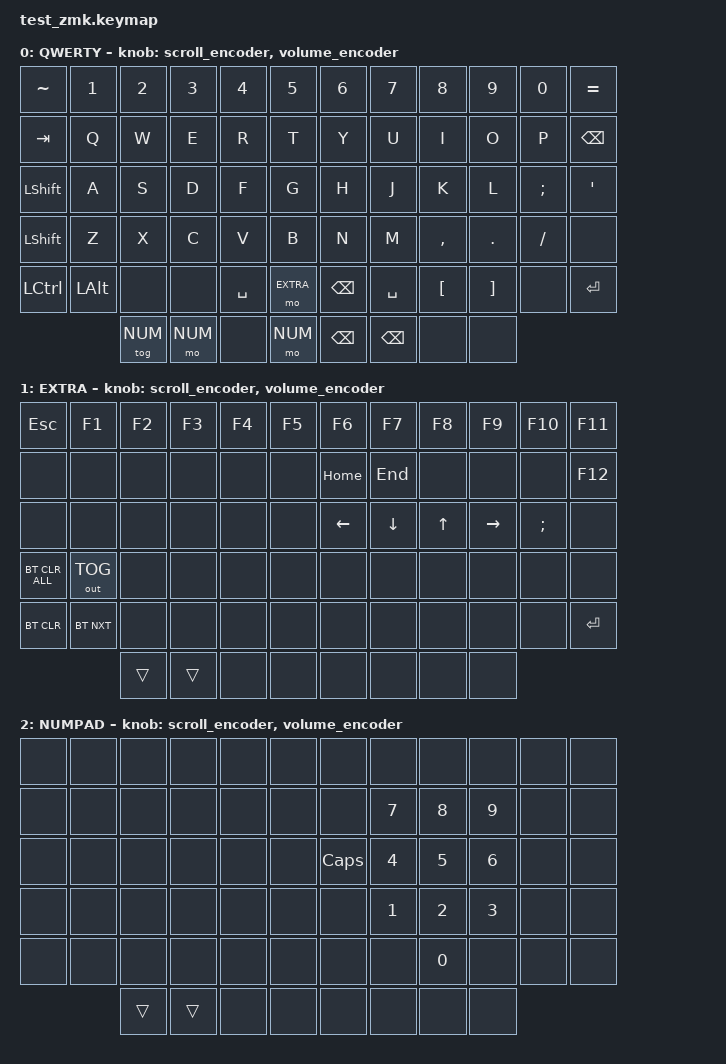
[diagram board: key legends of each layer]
#include <behaviors.dtsi>
#include <dt-bindings/zmk/keys.h>
#include <dt-bindings/zmk/mouse.h>
#include <behaviors/mouse_keys.dtsi>
#include <dt-bindings/zmk/bt.h>
#include <dt-bindings/zmk/outputs.h>
#include <dt-bindings/zmk/ext_power.h>

#define ZMK_MOUSE_DEFAULT_SCRL_VAL 50 // 10

#define QWERTY 0
#define EXTRA 1
#define NUM 2

/*
 * КОДЫ КЛАВИШ: https://zmk.dev/docs/codes 
 * ДОКУМЕНТАЦИЯ ПО НАСТРОЙКЕ ПОВЕДЕНИЯ КЛВИШ: https://zmk.dev/docs/behaviors
 * ДОКУМЕНТАЦИЯ ПО ЭМУЛЯЦИИ МЫШИ: https://zmk.dev/docs/behaviors/mouse-emulation
 * НАСТРОЙКА ПОВЕДЕНИЯ СЛОЕВ: https://zmk.dev/docs/keymaps/behaviors/layers
 */


&msc {
    acceleration-exponent = <0>;      // 0
    time-to-max-speed-ms = <0>;       // 300
    delay-ms = <0>;                   // 0
};
/ {
    behaviors {
        page_encoder: page_encoder {
            compatible = "zmk,behavior-sensor-rotate";
            #sensor-binding-cells = <0>;
            bindings = <&kp PG_UP>, <&kp PG_DN>;
        };
        volume_encoder: volume_encoder {
            compatible = "zmk,behavior-sensor-rotate";
            #sensor-binding-cells = <0>;
            bindings = <&kp C_VOL_DN>, <&kp C_VOL_UP>;
        };
        scroll_encoder: scroll_encoder {
            compatible = "zmk,behavior-sensor-rotate";
            #sensor-binding-cells = <0>;
            bindings = <&msc SCRL_UP>, <&msc SCRL_DOWN>;
            tap-ms = <50>;
        };
    };


    // ДОКУМЕНТАЦИЯ ПО ПОВЕДЕНИЮ КНОПОК: https://zmk.dev/docs/behaviors
    keymap {
        compatible = "zmk,keymap";

        QWERTY {
            display-name = "QWERTY";
/* QWERTY
 *
 * ,-----------------------------------------------.               ,-----------------------------------------------.
 * |  ESC  |   1   |   2   |   3   |   4   |   5   |               |   6   |   7   |   8   |   9   |   0   |   =   |
 * |-------+-------+-------+-------+-------|-------|               |-------+-------+-------+-------+-------|-------|
 * |  TAB  |   Q   |   W   |   E   |   R   |   T   |               |   Y   |   U   |   I   |   O   |   P   |   ?   |
 * |-------+-------+-------+-------+-------|-------|               |-------+-------+-------+-------+-------|-------|
 * | CAPS  |   A   |   S   |   D   |   F   |   G   |               |   H   |   J   |   K   |   L   |   ;   |   ?   |
 * |-------+-------+-------+-------+-------|-------|               |-------+-------+-------+-------+-------|-------|
 * |LSHIFT |   Z   |   X   |   C   |   V   |   B   |               |   N   |   M   |   ,   |   .   |   /   |   ?   |
 * |-------------------------------================ǁ               ǁ================-----------------------|-------|
 * | CTRL  |  ALT  |   ?   |   ?   ǁ   ?   |   ?   ǁ<большой палец>ǁ BSPC  | SPACE ǁ   ?   |   ?   |   ?   |   ?   |
 * `---------------=================---------------ǁ               ǁ---------------=================---------------'
 *                 ǁ   ?   |   ?   |   ?   |  NUM  ǁ<---Encoder--->ǁ   ?   |   ?   |   ?   |   ?   ǁ	
 *                 "==============================="               "==============================="
 *                  ^^^^^^^^^^^^^^^ ^^^^^^^^^^^^^^^                 ^^^^^^^^^^^^^^^ ^^^^^^^^^^^^^^^
 *                    нижний ряд      верхний ряд                      верхний ряд    нижний ряд
 */
            bindings = <
    &kp TILDE    &kp N1       &kp N2       &kp N3       &kp N4       &kp N5             &kp N6       &kp N7       &kp N8       &kp N9       &kp N0       &kp EQUAL
    &kp TAB      &kp Q        &kp W        &kp E        &kp R        &kp T              &kp Y        &kp U        &kp I        &kp O        &kp P        &kp BSPC
    &kp LSHIFT   &kp A        &kp S        &kp D        &kp F        &kp G              &kp H        &kp J        &kp K        &kp L        &kp SEMI     &kp SQT
    &kp LSHIFT   &kp Z        &kp X        &kp C        &kp V        &kp B              &kp N        &kp M        &kp COMMA    &kp DOT      &kp FSLH     &none
    &kp LCTRL    &kp LALT     &none        &none        &kp SPACE    &mo EXTRA          &kp BSPC     &kp SPACE    &kp LBKT     &kp RBKT     &none        &kp ENTER 
                              &tog NUM     &mo NUM      &none        &mo NUM            &kp BSPC     &kp BSPC     &none        &none
            >;
            
            // ТУТ УКАЗЫВАЕТСЯ НАЗНАЧЕНИЕ ЭНКОДЕРА В СЛОЕ
            sensor-bindings = 
            <&scroll_encoder>, 
            <&volume_encoder>;
        };

        EXTRA {
            display-name = "EXTRA";
/* EXTRA 
 *
 * ,-----------------------------------------------.               ,-----------------------------------------------.
 * |  ESC  |   1   |   2   |   3   |   4   |   5   |               |   6   |   7   |   8   |   9   |   0   |   =   |
 * |-------+-------+-------+-------+-------|-------|               |-------+-------+-------+-------+-------|-------|
 * |  TAB  |   Q   |   W   |   E   |   R   |   T   |               |   Y   |   U   |   I   |   O   |   P   |   ?   |
 * |-------+-------+-------+-------+-------|-------|               |-------+-------+-------+-------+-------|-------|
 * | CAPS  |   A   |   S   |   D   |   F   |   G   |               |   H   |   J   |   K   |   L   |   ;   |   ?   |
 * |-------+-------+-------+-------+-------|-------|               |-------+-------+-------+-------+-------|-------|
 * |LSHIFT |   Z   |   X   |   C   |   V   |   B   |               |   N   |   M   |   ,   |   .   |   /   |   ?   |
 * |-------------------------------================ǁ               ǁ================-----------------------|-------|
 * | CTRL  |  ALT  |   ?   |   ?   ǁ   ?   |   ?   ǁ<большой палец>ǁ BSPC  | SPACE ǁ   ?   |   ?   |   ?   |   ?   |
 * `---------------=================---------------ǁ               ǁ---------------=================---------------'
 *                 ǁ   ?   |   ?   |   ?   |  NUM  ǁ<---Encoder--->ǁ   ?   |   ?   |   ?   |   ?   ǁ	
 *                 "==============================="               "==============================="
 *                  ^^^^^^^^^^^^^^^ ^^^^^^^^^^^^^^^                 ^^^^^^^^^^^^^^^ ^^^^^^^^^^^^^^^
 *                    нижний ряд      верхний ряд                      верхний ряд    нижний ряд
 */
            bindings = <
    &kp ESC        &kp F1        &kp F2       &kp F3       &kp F4       &kp F5             &kp F6       &kp F7       &kp F8       &kp F9       &kp F10      &kp F11
    &none          &none         &none        &none        &none        &none              &kp HOME     &kp END      &none        &none        &none        &kp F12
    &none          &none         &none        &none        &none        &none              &kp LEFT     &kp DOWN     &kp UP       &kp RIGHT    &kp SEMI     &none
    &bt BT_CLR_ALL &out OUT_TOG  &none        &none        &none        &none              &none        &none        &none        &none        &none        &none
    &bt BT_CLR     &bt BT_NXT    &none        &none        &none        &none              &none        &none        &none        &none        &none        &kp ENTER 
                                 &trans       &trans       &none        &none              &none        &none        &none        &none
            >;
            
            // ТУТ УКАЗЫВАЕТСЯ НАЗНАЧЕНИЕ ЭНКОДЕРА В СЛОЕ
            sensor-bindings = 
            <&scroll_encoder>, 
            <&volume_encoder>;
        };

        NUM {
            display-name = "NUMPAD";
/* NUMPAD
 *
 * ,----------------------------------------------.               ,-----------------------------------------------.
 * |   ?   |   ?   |   ?   |   ?   |   ?   |   ?  |               |   ?   |   ?   |   ?   |   ?   |   ?   |   ?   |
 * |-------+-------+-------+-------+-------|------|               |-------+-------+-------+-------+-------|-------|
 * |   ?   |   ?   |   ?   |   ?   |   ?   |   ?  |               |   ?   |   7   |   8   |   9   |   ?   |   ?   |
 * |-------+-------+-------+-------+-------|------|               |-------+-------+-------+-------+-------|-------|
 * |   ?   |   ?   |   ?   |   ?   |   ?   |   ?  |               |   ?   |   4   |   5   |   6   |   ?   |   ?   |
 * |-------+-------+-------+-------+-------|------|               |-------+-------+-------+-------+-------|-------|
 * |   ?   |   ?   |   ?   |   ?   |   ?   |   ?  |               |   ?   |   1   |   2   |   3   |   ?   |   ?   |
 * |-------------------------------===============ǁ               ǁ================-----------------------|-------|
 * |   ?   |   ?   |   ?   |   ?   ǁ   ?   |   ?  ǁ<большой палец>ǁ   ?   |   ?   ǁ   0   |   ?   |   ?   |   ?   |
 * `---------------=================--------------ǁ               ǁ---------------=================---------------'
 *                 ǁ   ?   |   ?   |   ?   |   ?  ǁ<---Encoder--->ǁ   ?   |   ?   |   ?   |   ?   ǁ	
 *                 "=============================="               "==============================="
 *                  ^^^^^^^^^^^^^^^ ^^^^^^^^^^^^^^                 ^^^^^^^^^^^^^^^ ^^^^^^^^^^^^^^^
 *                   нижний ряд      верхний ряд                    верхний ряд       нижний ряд
 */
            bindings = <
    &none        &none        &none        &none        &none        &none              &none        &none        &none        &none        &none        &none
    &none        &none        &none        &none        &none        &none              &none        &kp N7       &kp N8       &kp N9       &none        &none
    &none        &none        &none        &none        &none        &none              &kp CAPSLOCK &kp N4       &kp N5       &kp N6       &none        &none
    &none        &none        &none        &none        &none        &none              &none        &kp N1       &kp N2       &kp N3       &none        &none
    &none        &none        &none        &none        &none        &none              &none        &none        &kp N0       &none        &none        &none
                              &trans       &trans       &none        &none              &none        &none        &none        &none        
            >;
            
            // ТУТ УКАЗЫВАЕТСЯ НАЗНАЧЕНИЕ ЭНКОДЕРА В СЛОЕ
            sensor-bindings = 
            <&scroll_encoder>, 
            <&volume_encoder>;
        };
    };
};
